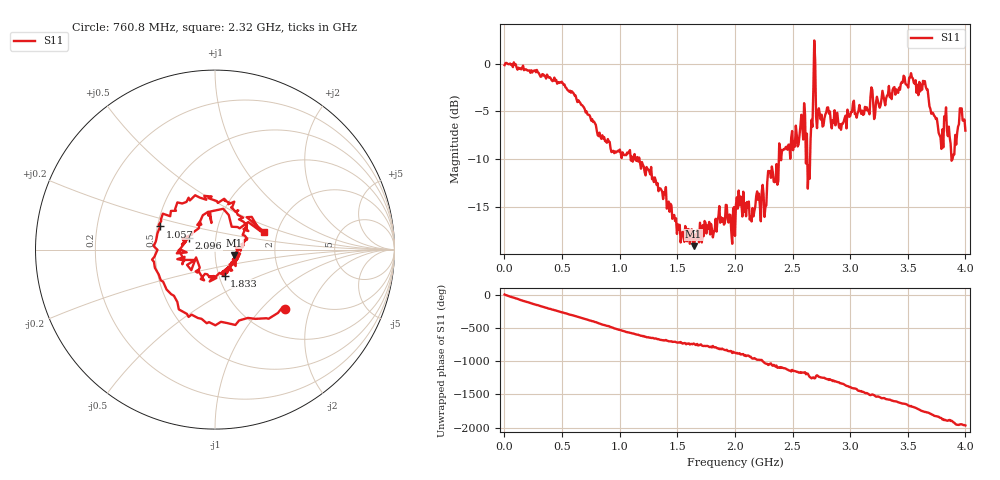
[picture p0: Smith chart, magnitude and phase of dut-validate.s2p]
!Created with skrf (http://scikit-rf.org).
# GHz S DB R 50.0
!freq dBS11 angS11
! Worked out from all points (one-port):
!   501 points, 1 MHz to 4 GHz, reference 50 ohm
!   lowest |S11| = -19.1 dB at 1.641 GHz (marker M1), VSWR 1.25, Z = 61.8 - j3.71 ohm
!   |S11| at or under -10 dB: 1.136 GHz to 1.148 GHz (12.01 MHz wide, 1.05 % of centre); 1.171 GHz to 2.381 GHz (1.21 GHz wide, 68.1 % of centre); 2.628 GHz to 2.652 GHz (24.27 MHz wide, 0.919 % of centre)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
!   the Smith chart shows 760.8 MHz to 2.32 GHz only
!   S11 on the Smith chart (normalised r, x): 760.8 MHz: 1.53, -1.38; 1.057 GHz: 0.52, +0.15; 1.833 GHz: 1.06, -0.32; 2.096 GHz: 0.74, +0.10; 2.32 GHz: 1.69, +0.37
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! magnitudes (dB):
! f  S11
! 1 MHz  -0.2
! 504.9 MHz  -2.1
! 760.8 MHz  -5.8
! 1.001 GHz  -9.0
! 1.057 GHz  -9.6
! 1.257 GHz  -11.3
! 1.505 GHz  -16.8
! 1.641 GHz  -19.1
! 1.833 GHz  -16.2
! 2.001 GHz  -18.0
! 2.096 GHz  -16.0
! 2.264 GHz  -15.0
! 2.32 GHz  -10.8
! 2.504 GHz  -9.1
! 2.592 GHz  -7.9
! 2.632 GHz  -13.1
! 2.648 GHz  -12.1
! 2.688 GHz  2.4
! 2.72 GHz  -5.1
! 2.76 GHz  -6.6
! 3 GHz  -5.5
! 3.504 GHz  -2.5
! 3.648 GHz  -1.8
! 3.792 GHz  -8.9
! 3.84 GHz  -7.0
! 3.888 GHz  -10.0
! 3.952 GHz  -4.7
! 4 GHz  -7.0
